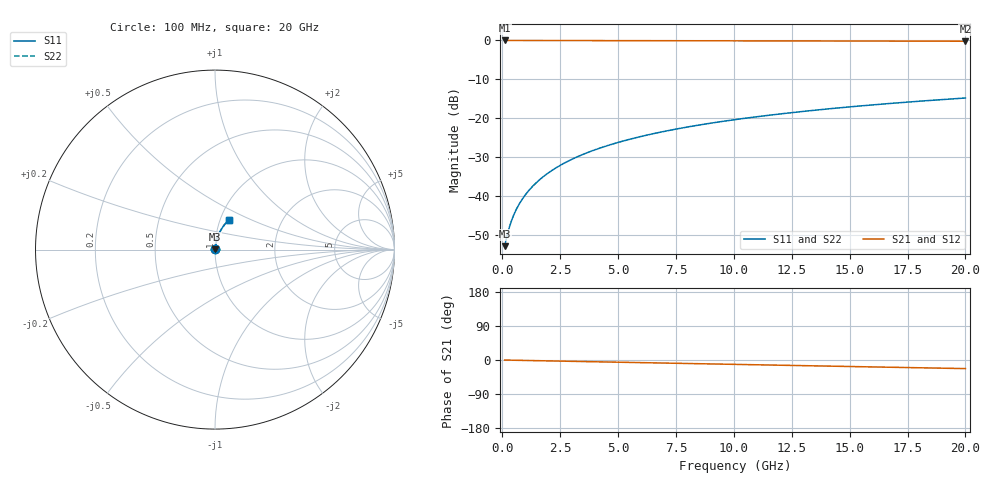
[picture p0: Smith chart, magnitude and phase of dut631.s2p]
! Touchstone file exported from HFSS 2026.1.0
!  File:  C:/ffzhzh/LocalFiles/Ansys_Project_Files/temp_train_TMRDL_631_1783009204_46388.aedt
!  Generated:  12:21:22 AM Jul  3, 2026
!  Design:  TMRDL
!  Project:  temp_train_TMRDL_631_1783009204_46388
! Variables:
!  h_bsmrdl = 2um
!  h_ox = 20um
!  h_rdl = 5um
!  h_sub = 80um
!  h_tmrdl = 3.04um
!  h_tsv = 80um
!  h_via = 3um
!  l_bsmrdl = 300um
!  l_sub = 731.66um
!  l_tmrdl = 331.66um
!  m_sub = 200um
!  pitch = 38.56um
!  r_tsv = 6um
!  s_tmrdl = 10um
!  w_bsmrdl = 18um
!  w_sub = 500um
!  w_tmrdl = 22.3um
!  x_tsv_center1 = 342.81um
!  x_tsv_center2 = 660.81um
!  x_tsv_center3 = 1014.77um
!  x_tsv_center4 = 1332.77um
!  x_tsv_center5 = 1686.73um
!  x_tsv_center6 = 2004.73um
# GHz S MA R 50.000000
! Terminal data exported
! Port[1] = TM_RDL1_1_T1
! Port[2] = TM_RDL1_1_T2
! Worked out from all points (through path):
!   200 points, 100 MHz to 20 GHz, reference 50 ohm
!   highest |S21| = -0.02 dB at 100 MHz (marker M1); lowest = -0.2 dB at 20 GHz (marker M2)
!   group delay of S21, straight-line fit = 3.15 ps
!   lowest |S11| = -52.8 dB at 100 MHz (marker M3), VSWR 1.00, Z = 50.2 + j0.115 ohm
!   |S11| at or under -10 dB: start of sweep to end of sweep
!   |S22| runs from -52.8 to -14.8 dB; largest |S21 - S12| = 4.1e-15
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0.1  0.002297 29.9  0.998 -0.1  0.998 -0.1  0.002297 29.9
! Gamma 0 0 0 0
! Port Impedance 50 0 50 0
0.2  0.003071 47.2  0.9979 -0.3  0.9979 -0.3  0.003071 47.2
0.3  0.003975 56.2  0.9978 -0.4  0.9978 -0.4  0.003975 56.2
0.4  0.004902 61.6  0.9977 -0.5  0.9977 -0.5  0.004902 61.6
0.5  0.00583 65.3  0.9976 -0.6  0.9976 -0.6  0.00583 65.3
0.6  0.006757 68.0  0.9975 -0.7  0.9975 -0.7  0.006757 68.0
0.8  0.00862 71.8  0.9974 -1.0  0.9974 -1.0  0.00862 71.8
1  0.0105 74.4  0.9973 -1.2  0.9973 -1.2  0.0105 74.4
1.2  0.0124 76.1  0.9973 -1.4  0.9973 -1.4  0.0124 76.1
1.4  0.01431 77.4  0.9972 -1.7  0.9972 -1.7  0.01431 77.4
1.7  0.0172 78.7  0.9971 -2.0  0.9971 -2.0  0.0172 78.7
2.2  0.02205 79.9  0.9969 -2.6  0.9969 -2.6  0.02205 79.9
2.8  0.02788 80.6  0.9966 -3.3  0.9966 -3.3  0.02787 80.6
3.5  0.03467 80.7  0.9963 -4.1  0.9963 -4.1  0.03467 80.7
4.2  0.04144 80.5  0.9958 -4.9  0.9958 -4.9  0.04144 80.5
5  0.04914 80.0  0.9952 -5.8  0.9952 -5.8  0.04914 80.0
6.8  0.06626 78.5  0.9936 -7.9  0.9936 -7.9  0.06626 78.5
8.3  0.08029 77.0  0.9921 -9.6  0.9921 -9.6  0.08029 77.0
10.1  0.09684 75.2  0.99 -11.7  0.99 -11.7  0.09684 75.2
13.4  0.1264 71.8  0.9857 -15.4  0.9857 -15.4  0.1264 71.8
16.7  0.1549 68.3  0.9809 -19.1  0.9809 -19.1  0.1549 68.3
20  0.1824 64.9  0.9755 -22.7  0.9755 -22.7  0.1824 64.9
